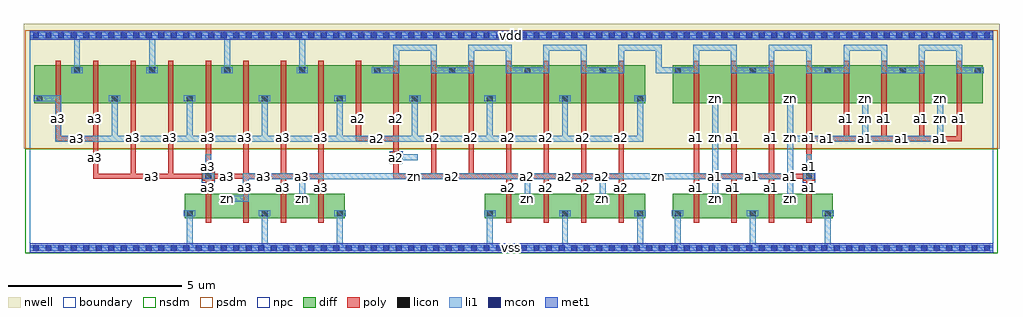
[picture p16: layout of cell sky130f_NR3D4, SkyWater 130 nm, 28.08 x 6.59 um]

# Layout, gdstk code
import gdstk
lib = gdstk.Library(unit=1e-6, precision=1e-09)
def R(c, l, rs):  # rectangles x0, y0, x1, y1
    for r in rs: c.add(gdstk.rectangle(r[:2], r[2:], *l))
def A(c, l, x, y, w, h, nx, ny, dx, dy):  # array of equal rectangles
    R(c, l, [(x+i*dx, y+j*dy, x+i*dx+w, y+j*dy+h) for i in range(nx) for j in range(ny)])
L0_0 = (0, 0)
nwell = (64, 20)
diff = (65, 20)
poly = (66, 20)
licon = (66, 44)
li1 = (67, 20)
mcon = (67, 44)
met1 = (68, 20)
nsdm = (93, 44)
psdm = (94, 20)
npc = (95, 20)
boundary = (235, 4)

sky130f_nr3d4 = lib.new_cell('sky130f_NR3D4')
R(sky130f_nr3d4, nwell, [(-0.18,2.86,27.9,6.445)])
A(sky130f_nr3d4, diff, 4.455, 0.86, 1.37, 0.7, 4, 1, 1.08, 0)
A(sky130f_nr3d4, diff, 4.455, 0.86, 0.29, 0.29, 3, 1, 2.16, 0)
A(sky130f_nr3d4, diff, 13.095, 0.86, 1.37, 0.7, 4, 1, 1.08, 0)
A(sky130f_nr3d4, diff, 13.095, 0.86, 0.29, 0.29, 3, 1, 2.16, 0)
A(sky130f_nr3d4, diff, 18.495, 0.86, 1.37, 0.7, 4, 1, 1.08, 0)
A(sky130f_nr3d4, diff, 18.495, 0.86, 0.29, 0.29, 3, 1, 2.16, 0)
A(sky130f_nr3d4, diff, 0.135, 4.16, 1.37, 1.1, 16, 1, 1.08, 0)
A(sky130f_nr3d4, diff, 0.135, 4.16, 0.29, 0.29, 13, 1, 2.16, 0)
A(sky130f_nr3d4, diff, 18.495, 4.16, 1.37, 1.1, 8, 1, 1.08, 0)
A(sky130f_nr3d4, diff, 1.215, 4.97, 0.29, 0.29, 13, 1, 2.16, 0)
R(sky130f_nr3d4, diff, [(5.535,1.27,5.825,1.56), (7.695,1.27,7.985,1.56), (14.175,1.27,14.465,1.56), (16.335,1.27,16.625,1.56), (19.575,1.27,19.865,1.56), (21.735,1.27,22.025,1.56)])
A(sky130f_nr3d4, poly, 5.065, 0.73, 0.15, 0.96, 4, 1, 1.08, 0)
A(sky130f_nr3d4, poly, 13.705, 0.73, 0.15, 0.96, 4, 1, 1.08, 0)
A(sky130f_nr3d4, poly, 19.105, 0.73, 0.15, 0.96, 4, 1, 1.08, 0)
A(sky130f_nr3d4, poly, 5.065, 1.34, 0.15, 0.8, 4, 1, 1.08, 0)
A(sky130f_nr3d4, poly, 13.705, 1.34, 0.15, 0.8, 4, 1, 1.08, 0)
A(sky130f_nr3d4, poly, 19.105, 1.34, 0.15, 0.8, 4, 1, 1.08, 0)
A(sky130f_nr3d4, poly, 2.905, 1.99, 0.15, 2.39, 6, 1, 1.08, 0)
A(sky130f_nr3d4, poly, 5.065, 1.99, 1.23, 0.15, 3, 1, 1.08, 0)
A(sky130f_nr3d4, poly, 11.545, 1.99, 0.15, 2.39, 6, 1, 1.08, 0)
A(sky130f_nr3d4, poly, 13.705, 1.99, 1.23, 0.15, 3, 1, 1.08, 0)
A(sky130f_nr3d4, poly, 19.105, 1.99, 1.23, 0.15, 3, 1, 1.08, 0)
A(sky130f_nr3d4, poly, 19.105, 1.99, 0.15, 2.39, 4, 1, 1.08, 0)
A(sky130f_nr3d4, poly, 22.345, 3.07, 1.23, 0.15, 4, 1, 1.08, 0)
A(sky130f_nr3d4, poly, 23.425, 3.07, 0.15, 1.31, 4, 1, 1.08, 0)
A(sky130f_nr3d4, poly, 0.745, 4.03, 0.15, 1.36, 16, 1, 1.08, 0)
A(sky130f_nr3d4, poly, 19.105, 4.03, 0.15, 1.36, 8, 1, 1.08, 0)
R(sky130f_nr3d4, poly, [(4.975,1.93,5.305,2.2), (22.255,1.93,22.585,2.2), (1.825,1.99,5.215,2.14), (1.825,1.99,1.975,3.22), (10.465,1.99,13.855,2.14), (10.465,1.99,10.615,3.22), (10.375,2.47,10.705,2.74), (0.745,3.07,1.975,3.22), (0.745,3.07,0.895,4.38), (1.825,3.07,1.975,4.38), (9.385,3.07,10.615,3.22), (9.385,3.07,9.535,4.38), (10.465,3.07,10.615,4.38)])
A(sky130f_nr3d4, licon, 4.515, 0.92, 0.17, 0.17, 3, 1, 2.16, 0)
A(sky130f_nr3d4, licon, 13.155, 0.92, 0.17, 0.17, 3, 1, 2.16, 0)
A(sky130f_nr3d4, licon, 18.555, 0.92, 0.17, 0.17, 3, 1, 2.16, 0)
A(sky130f_nr3d4, licon, 0.195, 4.22, 0.17, 0.17, 13, 1, 2.16, 0)
A(sky130f_nr3d4, licon, 1.275, 5.03, 0.17, 0.17, 13, 1, 2.16, 0)
R(sky130f_nr3d4, licon, [(5.595,1.33,5.765,1.5), (7.755,1.33,7.925,1.5), (14.235,1.33,14.405,1.5), (16.395,1.33,16.565,1.5), (19.635,1.33,19.805,1.5), (21.795,1.33,21.965,1.5), (5.055,1.98,5.225,2.15), (22.335,1.98,22.505,2.15), (10.455,2.52,10.625,2.69)])
A(sky130f_nr3d4, li1, 4.515, 0.06, 0.17, 1.03, 3, 1, 2.16, 0)
A(sky130f_nr3d4, li1, 13.155, 0.06, 0.17, 1.03, 3, 1, 2.16, 0)
A(sky130f_nr3d4, li1, 18.555, 0.06, 0.17, 1.03, 3, 1, 2.16, 0)
A(sky130f_nr3d4, li1, 4.435, 0.92, 0.33, 0.17, 3, 1, 2.16, 0)
A(sky130f_nr3d4, li1, 13.075, 0.92, 0.33, 0.17, 3, 1, 2.16, 0)
A(sky130f_nr3d4, li1, 18.475, 0.92, 0.33, 0.17, 3, 1, 2.16, 0)
A(sky130f_nr3d4, li1, 2.355, 3.06, 2.33, 0.17, 7, 1, 2.16, 0)
A(sky130f_nr3d4, li1, 2.355, 3.06, 0.17, 1.33, 8, 1, 2.16, 0)
A(sky130f_nr3d4, li1, 0.115, 4.22, 0.33, 0.17, 13, 1, 2.16, 0)
A(sky130f_nr3d4, li1, 1.195, 5.03, 0.33, 0.17, 13, 1, 2.16, 0)
A(sky130f_nr3d4, li1, 1.275, 5.03, 0.17, 1.03, 4, 1, 2.16, 0)
A(sky130f_nr3d4, li1, 10.455, 5.03, 0.17, 0.82, 16, 1, 1.08, 0)
A(sky130f_nr3d4, li1, 10.455, 5.68, 1.25, 0.17, 8, 1, 2.16, 0)
R(sky130f_nr3d4, li1, [(0,-0.085,27.72,0.085), (5.515,1.33,5.845,1.5), (5.595,1.33,6.305,1.5), (6.135,1.33,6.305,2.15), (7.675,1.33,8.005,1.5), (7.755,1.33,7.925,2.15), (14.155,1.33,14.485,1.5), (14.235,1.33,14.405,2.15), (16.315,1.33,16.645,1.5), (16.395,1.33,16.565,2.15), (19.555,1.33,19.885,1.5), (19.635,1.33,19.805,2.15), (21.715,1.33,22.045,1.5), (21.795,1.33,21.965,2.15), (4.975,1.98,5.305,2.15), (5.055,1.98,5.225,2.69), (6.135,1.98,7.925,2.15), (7.755,1.98,14.405,2.15), (14.235,1.98,16.565,2.15), (16.395,1.98,19.805,2.15), (19.635,1.98,21.965,2.15), (19.635,1.98,19.805,4.39), (21.795,1.98,21.965,4.39), (22.255,1.98,22.585,2.15), (22.335,1.98,22.505,2.69), (10.375,2.52,10.705,2.69), (10.455,2.52,11.165,2.69), (0.735,3.06,0.905,4.39), (0.735,3.06,2.525,3.23), (21.795,3.06,24.125,3.23), (23.955,3.06,26.285,3.23), (23.955,3.06,24.125,4.39), (26.115,3.06,26.285,4.39), (0.195,4.22,0.905,4.39), (9.915,5.03,10.625,5.2), (11.535,5.03,12.245,5.2), (12.075,5.03,12.785,5.2), (13.695,5.03,14.405,5.2), (14.235,5.03,14.945,5.2), (15.855,5.03,16.565,5.2), (16.395,5.03,17.105,5.2), (18.015,5.03,18.725,5.2), (18.555,5.03,19.265,5.2), (20.175,5.03,20.885,5.2), (20.715,5.03,21.425,5.2), (22.335,5.03,23.045,5.2), (22.875,5.03,23.585,5.2), (24.495,5.03,25.205,5.2), (25.035,5.03,25.745,5.2), (26.655,5.03,27.365,5.2), (0,6.035,27.72,6.205)])
A(sky130f_nr3d4, mcon, 0.095, -0.085, 0.17, 0.17, 77, 2, 0.36, 6.12)
R(sky130f_nr3d4, met1, [(0,-0.135,27.72,0.135), (0,5.985,27.72,6.255)])
R(sky130f_nr3d4, nsdm, [(-0.125,-0.145,27.845,0.145), (-0.125,0.145,27.845,2.86)])
R(sky130f_nr3d4, psdm, [(-0.125,2.86,27.845,5.975), (-0.125,5.975,27.845,6.265)])
R(sky130f_nr3d4, npc, [(4.955,1.88,5.325,2.25), (22.235,1.88,22.605,2.25), (10.355,2.42,10.725,2.79)])
R(sky130f_nr3d4, boundary, [(0,0,27.72,6.12)])
sky130f_nr3d4.add(gdstk.FlexPath([(0.115,0.355),(27.445,0.355)], 0, ends="flush", simple_path=True, layer=0, datatype=0))  # L0_0
sky130f_nr3d4.add(gdstk.FlexPath([(0.115,1.005),(27.445,1.005)], 0, ends="flush", simple_path=True, layer=0, datatype=0))  # L0_0
sky130f_nr3d4.add(gdstk.FlexPath([(0.115,1.415),(27.445,1.415)], 0, ends="flush", simple_path=True, layer=0, datatype=0))  # L0_0
sky130f_nr3d4.add(gdstk.FlexPath([(0.115,2.065),(27.445,2.065)], 0, ends="flush", simple_path=True, layer=0, datatype=0))  # L0_0
sky130f_nr3d4.add(gdstk.FlexPath([(0.115,2.605),(27.445,2.605)], 0, ends="flush", simple_path=True, layer=0, datatype=0))  # L0_0
sky130f_nr3d4.add(gdstk.FlexPath([(0.115,3.145),(27.445,3.145)], 0, ends="flush", simple_path=True, layer=0, datatype=0))  # L0_0
sky130f_nr3d4.add(gdstk.FlexPath([(0.115,4.305),(27.445,4.305)], 0, ends="flush", simple_path=True, layer=0, datatype=0))  # L0_0
sky130f_nr3d4.add(gdstk.FlexPath([(0.115,4.775),(27.445,4.775)], 0, ends="flush", simple_path=True, layer=0, datatype=0))  # L0_0
sky130f_nr3d4.add(gdstk.FlexPath([(0.115,5.115),(27.445,5.115)], 0, ends="flush", simple_path=True, layer=0, datatype=0))  # L0_0
sky130f_nr3d4.add(gdstk.FlexPath([(0.115,5.765),(27.445,5.765)], 0, ends="flush", simple_path=True, layer=0, datatype=0))  # L0_0
sky130f_nr3d4.add(gdstk.FlexPath([(0.28,0.06),(0.28,6.06)], 0, ends="flush", simple_path=True, layer=0, datatype=0))  # L0_0
sky130f_nr3d4.add(gdstk.FlexPath([(0.82,0.06),(0.82,6.06)], 0, ends="flush", simple_path=True, layer=0, datatype=0))  # L0_0
sky130f_nr3d4.add(gdstk.FlexPath([(1.36,0.06),(1.36,6.06)], 0, ends="flush", simple_path=True, layer=0, datatype=0))  # L0_0
sky130f_nr3d4.add(gdstk.FlexPath([(1.9,0.06),(1.9,6.06)], 0, ends="flush", simple_path=True, layer=0, datatype=0))  # L0_0
sky130f_nr3d4.add(gdstk.FlexPath([(2.44,0.06),(2.44,6.06)], 0, ends="flush", simple_path=True, layer=0, datatype=0))  # L0_0
sky130f_nr3d4.add(gdstk.FlexPath([(2.98,0.06),(2.98,6.06)], 0, ends="flush", simple_path=True, layer=0, datatype=0))  # L0_0
sky130f_nr3d4.add(gdstk.FlexPath([(3.52,0.06),(3.52,6.06)], 0, ends="flush", simple_path=True, layer=0, datatype=0))  # L0_0
sky130f_nr3d4.add(gdstk.FlexPath([(4.06,0.06),(4.06,6.06)], 0, ends="flush", simple_path=True, layer=0, datatype=0))  # L0_0
sky130f_nr3d4.add(gdstk.FlexPath([(4.6,0.06),(4.6,6.06)], 0, ends="flush", simple_path=True, layer=0, datatype=0))  # L0_0
sky130f_nr3d4.add(gdstk.FlexPath([(5.14,0.06),(5.14,6.06)], 0, ends="flush", simple_path=True, layer=0, datatype=0))  # L0_0
sky130f_nr3d4.add(gdstk.FlexPath([(5.68,0.06),(5.68,6.06)], 0, ends="flush", simple_path=True, layer=0, datatype=0))  # L0_0
sky130f_nr3d4.add(gdstk.FlexPath([(6.22,0.06),(6.22,6.06)], 0, ends="flush", simple_path=True, layer=0, datatype=0))  # L0_0
sky130f_nr3d4.add(gdstk.FlexPath([(6.76,0.06),(6.76,6.06)], 0, ends="flush", simple_path=True, layer=0, datatype=0))  # L0_0
sky130f_nr3d4.add(gdstk.FlexPath([(7.3,0.06),(7.3,6.06)], 0, ends="flush", simple_path=True, layer=0, datatype=0))  # L0_0
sky130f_nr3d4.add(gdstk.FlexPath([(7.84,0.06),(7.84,6.06)], 0, ends="flush", simple_path=True, layer=0, datatype=0))  # L0_0
sky130f_nr3d4.add(gdstk.FlexPath([(8.38,0.06),(8.38,6.06)], 0, ends="flush", simple_path=True, layer=0, datatype=0))  # L0_0
sky130f_nr3d4.add(gdstk.FlexPath([(8.92,0.06),(8.92,6.06)], 0, ends="flush", simple_path=True, layer=0, datatype=0))  # L0_0
sky130f_nr3d4.add(gdstk.FlexPath([(9.46,0.06),(9.46,6.06)], 0, ends="flush", simple_path=True, layer=0, datatype=0))  # L0_0
sky130f_nr3d4.add(gdstk.FlexPath([(10,0.06),(10,6.06)], 0, ends="flush", simple_path=True, layer=0, datatype=0))  # L0_0
sky130f_nr3d4.add(gdstk.FlexPath([(10.54,0.06),(10.54,6.06)], 0, ends="flush", simple_path=True, layer=0, datatype=0))  # L0_0
sky130f_nr3d4.add(gdstk.FlexPath([(11.08,0.06),(11.08,6.06)], 0, ends="flush", simple_path=True, layer=0, datatype=0))  # L0_0
sky130f_nr3d4.add(gdstk.FlexPath([(11.62,0.06),(11.62,6.06)], 0, ends="flush", simple_path=True, layer=0, datatype=0))  # L0_0
sky130f_nr3d4.add(gdstk.FlexPath([(12.16,0.06),(12.16,6.06)], 0, ends="flush", simple_path=True, layer=0, datatype=0))  # L0_0
sky130f_nr3d4.add(gdstk.FlexPath([(12.7,0.06),(12.7,6.06)], 0, ends="flush", simple_path=True, layer=0, datatype=0))  # L0_0
sky130f_nr3d4.add(gdstk.FlexPath([(13.24,0.06),(13.24,6.06)], 0, ends="flush", simple_path=True, layer=0, datatype=0))  # L0_0
sky130f_nr3d4.add(gdstk.FlexPath([(13.78,0.06),(13.78,6.06)], 0, ends="flush", simple_path=True, layer=0, datatype=0))  # L0_0
sky130f_nr3d4.add(gdstk.FlexPath([(14.32,0.06),(14.32,6.06)], 0, ends="flush", simple_path=True, layer=0, datatype=0))  # L0_0
sky130f_nr3d4.add(gdstk.FlexPath([(14.86,0.06),(14.86,6.06)], 0, ends="flush", simple_path=True, layer=0, datatype=0))  # L0_0
sky130f_nr3d4.add(gdstk.FlexPath([(15.4,0.06),(15.4,6.06)], 0, ends="flush", simple_path=True, layer=0, datatype=0))  # L0_0
sky130f_nr3d4.add(gdstk.FlexPath([(15.94,0.06),(15.94,6.06)], 0, ends="flush", simple_path=True, layer=0, datatype=0))  # L0_0
sky130f_nr3d4.add(gdstk.FlexPath([(16.48,0.06),(16.48,6.06)], 0, ends="flush", simple_path=True, layer=0, datatype=0))  # L0_0
sky130f_nr3d4.add(gdstk.FlexPath([(17.02,0.06),(17.02,6.06)], 0, ends="flush", simple_path=True, layer=0, datatype=0))  # L0_0
sky130f_nr3d4.add(gdstk.FlexPath([(17.56,0.06),(17.56,6.06)], 0, ends="flush", simple_path=True, layer=0, datatype=0))  # L0_0
sky130f_nr3d4.add(gdstk.FlexPath([(18.1,0.06),(18.1,6.06)], 0, ends="flush", simple_path=True, layer=0, datatype=0))  # L0_0
sky130f_nr3d4.add(gdstk.FlexPath([(18.64,0.06),(18.64,6.06)], 0, ends="flush", simple_path=True, layer=0, datatype=0))  # L0_0
sky130f_nr3d4.add(gdstk.FlexPath([(19.18,0.06),(19.18,6.06)], 0, ends="flush", simple_path=True, layer=0, datatype=0))  # L0_0
sky130f_nr3d4.add(gdstk.FlexPath([(19.72,0.06),(19.72,6.06)], 0, ends="flush", simple_path=True, layer=0, datatype=0))  # L0_0
sky130f_nr3d4.add(gdstk.FlexPath([(20.26,0.06),(20.26,6.06)], 0, ends="flush", simple_path=True, layer=0, datatype=0))  # L0_0
sky130f_nr3d4.add(gdstk.FlexPath([(20.8,0.06),(20.8,6.06)], 0, ends="flush", simple_path=True, layer=0, datatype=0))  # L0_0
sky130f_nr3d4.add(gdstk.FlexPath([(21.34,0.06),(21.34,6.06)], 0, ends="flush", simple_path=True, layer=0, datatype=0))  # L0_0
sky130f_nr3d4.add(gdstk.FlexPath([(21.88,0.06),(21.88,6.06)], 0, ends="flush", simple_path=True, layer=0, datatype=0))  # L0_0
sky130f_nr3d4.add(gdstk.FlexPath([(22.42,0.06),(22.42,6.06)], 0, ends="flush", simple_path=True, layer=0, datatype=0))  # L0_0
sky130f_nr3d4.add(gdstk.FlexPath([(22.96,0.06),(22.96,6.06)], 0, ends="flush", simple_path=True, layer=0, datatype=0))  # L0_0
sky130f_nr3d4.add(gdstk.FlexPath([(23.5,0.06),(23.5,6.06)], 0, ends="flush", simple_path=True, layer=0, datatype=0))  # L0_0
sky130f_nr3d4.add(gdstk.FlexPath([(24.04,0.06),(24.04,6.06)], 0, ends="flush", simple_path=True, layer=0, datatype=0))  # L0_0
sky130f_nr3d4.add(gdstk.FlexPath([(24.58,0.06),(24.58,6.06)], 0, ends="flush", simple_path=True, layer=0, datatype=0))  # L0_0
sky130f_nr3d4.add(gdstk.FlexPath([(25.12,0.06),(25.12,6.06)], 0, ends="flush", simple_path=True, layer=0, datatype=0))  # L0_0
sky130f_nr3d4.add(gdstk.FlexPath([(25.66,0.06),(25.66,6.06)], 0, ends="flush", simple_path=True, layer=0, datatype=0))  # L0_0
sky130f_nr3d4.add(gdstk.FlexPath([(26.2,0.06),(26.2,6.06)], 0, ends="flush", simple_path=True, layer=0, datatype=0))  # L0_0
sky130f_nr3d4.add(gdstk.FlexPath([(26.74,0.06),(26.74,6.06)], 0, ends="flush", simple_path=True, layer=0, datatype=0))  # L0_0
sky130f_nr3d4.add(gdstk.FlexPath([(27.28,0.06),(27.28,6.06)], 0, ends="flush", simple_path=True, layer=0, datatype=0))  # L0_0
sky130f_nr3d4.add(gdstk.Label('zn', (5.68,1.415), layer=65, texttype=20))
sky130f_nr3d4.add(gdstk.Label('zn', (7.84,1.415), layer=65, texttype=20))
sky130f_nr3d4.add(gdstk.Label('zn', (14.32,1.415), layer=65, texttype=20))
sky130f_nr3d4.add(gdstk.Label('zn', (16.48,1.415), layer=65, texttype=20))
sky130f_nr3d4.add(gdstk.Label('zn', (19.72,1.415), layer=65, texttype=20))
sky130f_nr3d4.add(gdstk.Label('zn', (21.88,1.415), layer=65, texttype=20))
sky130f_nr3d4.add(gdstk.Label('zn', (19.72,4.305), layer=65, texttype=20))
sky130f_nr3d4.add(gdstk.Label('zn', (21.88,4.305), layer=65, texttype=20))
sky130f_nr3d4.add(gdstk.Label('zn', (24.04,4.305), layer=65, texttype=20))
sky130f_nr3d4.add(gdstk.Label('zn', (26.2,4.305), layer=65, texttype=20))
sky130f_nr3d4.add(gdstk.Label('a3', (5.14,1.74), layer=66, texttype=20))
sky130f_nr3d4.add(gdstk.Label('a3', (5.68,2.065), layer=66, texttype=20))
sky130f_nr3d4.add(gdstk.Label('a3', (6.22,1.74), layer=66, texttype=20))
sky130f_nr3d4.add(gdstk.Label('a3', (6.76,2.065), layer=66, texttype=20))
sky130f_nr3d4.add(gdstk.Label('a3', (7.3,1.74), layer=66, texttype=20))
sky130f_nr3d4.add(gdstk.Label('a3', (7.84,2.065), layer=66, texttype=20))
sky130f_nr3d4.add(gdstk.Label('a3', (8.38,1.74), layer=66, texttype=20))
sky130f_nr3d4.add(gdstk.Label('a3', (3.52,2.065), layer=66, texttype=20))
sky130f_nr3d4.add(gdstk.Label('a3', (1.9,2.605), layer=66, texttype=20))
sky130f_nr3d4.add(gdstk.Label('a3', (1.36,3.145), layer=66, texttype=20))
sky130f_nr3d4.add(gdstk.Label('a3', (0.82,3.725), layer=66, texttype=20))
sky130f_nr3d4.add(gdstk.Label('a3', (1.9,3.725), layer=66, texttype=20))
sky130f_nr3d4.add(gdstk.Label('a3', (2.98,3.185), layer=66, texttype=20))
sky130f_nr3d4.add(gdstk.Label('a3', (4.06,3.185), layer=66, texttype=20))
sky130f_nr3d4.add(gdstk.Label('a3', (5.14,3.185), layer=66, texttype=20))
sky130f_nr3d4.add(gdstk.Label('a3', (6.22,3.185), layer=66, texttype=20))
sky130f_nr3d4.add(gdstk.Label('a3', (7.3,3.185), layer=66, texttype=20))
sky130f_nr3d4.add(gdstk.Label('a3', (8.38,3.185), layer=66, texttype=20))
sky130f_nr3d4.add(gdstk.Label('a3', (5.14,2.065), layer=66, texttype=20))
sky130f_nr3d4.add(gdstk.Label('a2', (13.78,1.74), layer=66, texttype=20))
sky130f_nr3d4.add(gdstk.Label('a2', (14.32,2.065), layer=66, texttype=20))
sky130f_nr3d4.add(gdstk.Label('a2', (14.86,1.74), layer=66, texttype=20))
sky130f_nr3d4.add(gdstk.Label('a2', (15.4,2.065), layer=66, texttype=20))
sky130f_nr3d4.add(gdstk.Label('a2', (15.94,1.74), layer=66, texttype=20))
sky130f_nr3d4.add(gdstk.Label('a2', (16.48,2.065), layer=66, texttype=20))
sky130f_nr3d4.add(gdstk.Label('a2', (17.02,1.74), layer=66, texttype=20))
sky130f_nr3d4.add(gdstk.Label('a2', (12.16,2.065), layer=66, texttype=20))
sky130f_nr3d4.add(gdstk.Label('a2', (10.54,2.605), layer=66, texttype=20))
sky130f_nr3d4.add(gdstk.Label('a2', (10,3.145), layer=66, texttype=20))
sky130f_nr3d4.add(gdstk.Label('a2', (9.46,3.725), layer=66, texttype=20))
sky130f_nr3d4.add(gdstk.Label('a2', (10.54,3.725), layer=66, texttype=20))
sky130f_nr3d4.add(gdstk.Label('a2', (11.62,3.185), layer=66, texttype=20))
sky130f_nr3d4.add(gdstk.Label('a2', (12.7,3.185), layer=66, texttype=20))
sky130f_nr3d4.add(gdstk.Label('a2', (13.78,3.185), layer=66, texttype=20))
sky130f_nr3d4.add(gdstk.Label('a2', (14.86,3.185), layer=66, texttype=20))
sky130f_nr3d4.add(gdstk.Label('a2', (15.94,3.185), layer=66, texttype=20))
sky130f_nr3d4.add(gdstk.Label('a2', (17.02,3.185), layer=66, texttype=20))
sky130f_nr3d4.add(gdstk.Label('a2', (10.54,2.605), layer=66, texttype=20))
sky130f_nr3d4.add(gdstk.Label('a1', (19.18,1.74), layer=66, texttype=20))
sky130f_nr3d4.add(gdstk.Label('a1', (19.72,2.065), layer=66, texttype=20))
sky130f_nr3d4.add(gdstk.Label('a1', (20.26,1.74), layer=66, texttype=20))
sky130f_nr3d4.add(gdstk.Label('a1', (20.8,2.065), layer=66, texttype=20))
sky130f_nr3d4.add(gdstk.Label('a1', (21.34,1.74), layer=66, texttype=20))
sky130f_nr3d4.add(gdstk.Label('a1', (21.88,2.065), layer=66, texttype=20))
sky130f_nr3d4.add(gdstk.Label('a1', (22.42,1.74), layer=66, texttype=20))
sky130f_nr3d4.add(gdstk.Label('a1', (19.18,3.185), layer=66, texttype=20))
sky130f_nr3d4.add(gdstk.Label('a1', (20.26,3.185), layer=66, texttype=20))
sky130f_nr3d4.add(gdstk.Label('a1', (21.34,3.185), layer=66, texttype=20))
sky130f_nr3d4.add(gdstk.Label('a1', (22.42,3.185), layer=66, texttype=20))
sky130f_nr3d4.add(gdstk.Label('a1', (22.96,3.145), layer=66, texttype=20))
sky130f_nr3d4.add(gdstk.Label('a1', (23.5,3.725), layer=66, texttype=20))
sky130f_nr3d4.add(gdstk.Label('a1', (24.04,3.145), layer=66, texttype=20))
sky130f_nr3d4.add(gdstk.Label('a1', (24.58,3.725), layer=66, texttype=20))
sky130f_nr3d4.add(gdstk.Label('a1', (25.12,3.145), layer=66, texttype=20))
sky130f_nr3d4.add(gdstk.Label('a1', (25.66,3.725), layer=66, texttype=20))
sky130f_nr3d4.add(gdstk.Label('a1', (26.2,3.145), layer=66, texttype=20))
sky130f_nr3d4.add(gdstk.Label('a1', (26.74,3.725), layer=66, texttype=20))
sky130f_nr3d4.add(gdstk.Label('a1', (22.42,2.065), layer=66, texttype=20))
sky130f_nr3d4.add(gdstk.Label('zn', (5.68,1.415), layer=66, texttype=44))
sky130f_nr3d4.add(gdstk.Label('zn', (7.84,1.415), layer=66, texttype=44))
sky130f_nr3d4.add(gdstk.Label('zn', (14.32,1.415), layer=66, texttype=44))
sky130f_nr3d4.add(gdstk.Label('zn', (16.48,1.415), layer=66, texttype=44))
sky130f_nr3d4.add(gdstk.Label('zn', (19.72,1.415), layer=66, texttype=44))
sky130f_nr3d4.add(gdstk.Label('zn', (21.88,1.415), layer=66, texttype=44))
sky130f_nr3d4.add(gdstk.Label('zn', (19.72,4.305), layer=66, texttype=44))
sky130f_nr3d4.add(gdstk.Label('zn', (21.88,4.305), layer=66, texttype=44))
sky130f_nr3d4.add(gdstk.Label('zn', (24.04,4.305), layer=66, texttype=44))
sky130f_nr3d4.add(gdstk.Label('zn', (26.2,4.305), layer=66, texttype=44))
sky130f_nr3d4.add(gdstk.Label('a3', (5.14,2.065), layer=66, texttype=44))
sky130f_nr3d4.add(gdstk.Label('a2', (10.54,2.605), layer=66, texttype=44))
sky130f_nr3d4.add(gdstk.Label('a1', (22.42,2.065), layer=66, texttype=44))
sky130f_nr3d4.add(gdstk.Label('zn', (5.68,1.415), layer=67, texttype=5))
sky130f_nr3d4.add(gdstk.Label('zn', (7.84,1.415), layer=67, texttype=5))
sky130f_nr3d4.add(gdstk.Label('zn', (14.32,1.415), layer=67, texttype=5))
sky130f_nr3d4.add(gdstk.Label('zn', (16.48,1.415), layer=67, texttype=5))
sky130f_nr3d4.add(gdstk.Label('zn', (19.72,1.415), layer=67, texttype=5))
sky130f_nr3d4.add(gdstk.Label('zn', (21.88,1.415), layer=67, texttype=5))
sky130f_nr3d4.add(gdstk.Label('zn', (19.72,4.305), layer=67, texttype=5))
sky130f_nr3d4.add(gdstk.Label('zn', (21.88,4.305), layer=67, texttype=5))
sky130f_nr3d4.add(gdstk.Label('zn', (24.04,4.305), layer=67, texttype=5))
sky130f_nr3d4.add(gdstk.Label('zn', (26.2,4.305), layer=67, texttype=5))
sky130f_nr3d4.add(gdstk.Label('zn', (5.95,1.415), layer=67, texttype=5))
sky130f_nr3d4.add(gdstk.Label('zn', (6.22,1.74), layer=67, texttype=5))
sky130f_nr3d4.add(gdstk.Label('zn', (7.03,2.065), layer=67, texttype=5))
sky130f_nr3d4.add(gdstk.Label('zn', (7.84,1.74), layer=67, texttype=5))
sky130f_nr3d4.add(gdstk.Label('zn', (11.08,2.065), layer=67, texttype=5))
sky130f_nr3d4.add(gdstk.Label('zn', (14.32,1.74), layer=67, texttype=5))
sky130f_nr3d4.add(gdstk.Label('zn', (15.4,2.065), layer=67, texttype=5))
sky130f_nr3d4.add(gdstk.Label('zn', (16.48,1.74), layer=67, texttype=5))
sky130f_nr3d4.add(gdstk.Label('zn', (18.1,2.065), layer=67, texttype=5))
sky130f_nr3d4.add(gdstk.Label('zn', (19.72,1.74), layer=67, texttype=5))
sky130f_nr3d4.add(gdstk.Label('zn', (20.8,2.065), layer=67, texttype=5))
sky130f_nr3d4.add(gdstk.Label('zn', (21.88,1.74), layer=67, texttype=5))
sky130f_nr3d4.add(gdstk.Label('zn', (19.72,3.185), layer=67, texttype=5))
sky130f_nr3d4.add(gdstk.Label('zn', (21.88,3.185), layer=67, texttype=5))
sky130f_nr3d4.add(gdstk.Label('zn', (22.96,3.145), layer=67, texttype=5))
sky130f_nr3d4.add(gdstk.Label('zn', (24.04,3.725), layer=67, texttype=5))
sky130f_nr3d4.add(gdstk.Label('zn', (25.12,3.145), layer=67, texttype=5))
sky130f_nr3d4.add(gdstk.Label('zn', (26.2,3.725), layer=67, texttype=5))
sky130f_nr3d4.add(gdstk.Label('a3', (5.14,2.065), layer=67, texttype=5))
sky130f_nr3d4.add(gdstk.Label('a3', (5.14,2.335), layer=67, texttype=5))
sky130f_nr3d4.add(gdstk.Label('a2', (10.54,2.605), layer=67, texttype=5))
sky130f_nr3d4.add(gdstk.Label('a2', (10.81,2.605), layer=67, texttype=5))
sky130f_nr3d4.add(gdstk.Label('a1', (22.42,2.065), layer=67, texttype=5))
sky130f_nr3d4.add(gdstk.Label('a1', (22.42,2.335), layer=67, texttype=5))
sky130f_nr3d4.add(gdstk.Label('vss', (13.86,0), layer=67, texttype=5))
sky130f_nr3d4.add(gdstk.Label('vdd', (13.86,6.12), layer=67, texttype=5))
sky130f_nr3d4.add(gdstk.Label('vss', (13.86,0), layer=68, texttype=5))
sky130f_nr3d4.add(gdstk.Label('vdd', (13.86,6.12), layer=68, texttype=5))

lib.write_gds('sky130f_NR3D4.gds')
